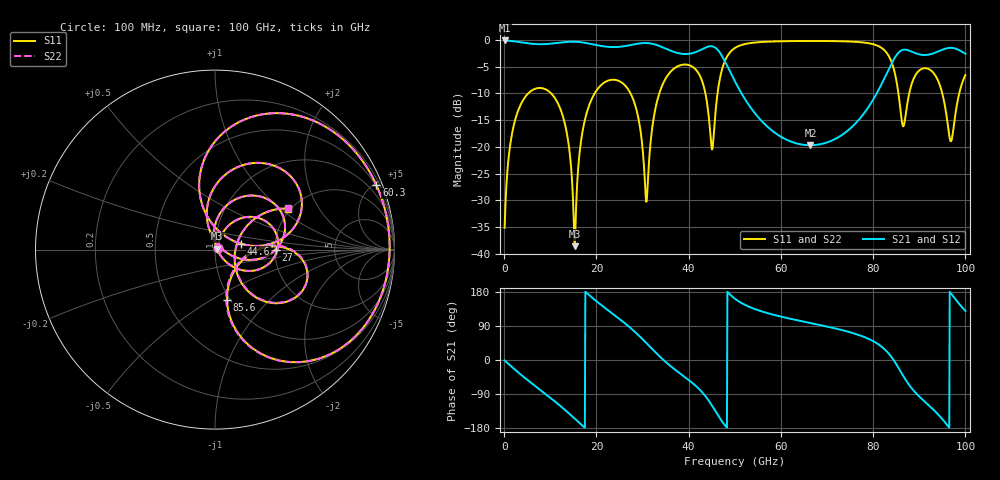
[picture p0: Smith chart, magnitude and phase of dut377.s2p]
! Touchstone file exported from HFSS 2026.1.0
!  File:  C:/ffzhzh/LocalFiles/Ansys_Project_Files/temp_train_TSV_RDL_377_1783714699_45164.aedt
!  Generated:  04:25:22 AM Jul 11, 2026
!  Design:  TSV_RDL
!  Project:  temp_train_TSV_RDL_377_1783714699_45164
! Variables:
!  h_bsmrdl = 4um
!  h_ox = 20um
!  h_rdl = 5um
!  h_sub = 93.74um
!  h_tmrdl = 3.87um
!  h_tsv = 93.74um
!  h_via = 3um
!  l_bsmrdl = 189.79um
!  l_sub = 2850.98um
!  l_tmrdl = 439.24um
!  m_sub = 200um
!  pitch = 43.49um
!  r_tsv = 14.47um
!  s_tmrdl = 10um
!  w_bsmrdl = 28.66um
!  w_sub = 500um
!  w_tmrdl = 12.89um
!  x_tsv_center1 = 445.685um
!  x_tsv_center2 = 664.135um
!  x_tsv_center3 = 1116.265um
!  x_tsv_center4 = 1334.715um
!  x_tsv_center5 = 1786.845um
!  x_tsv_center6 = 2005.295um
# GHz S MA R 50.000000
! Terminal data exported
! Port[1] = TM_RDL1_1_T1
! Port[2] = TM_RDL5_1_T1
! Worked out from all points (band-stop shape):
!   1000 points, 100 MHz to 100 GHz, reference 50 ohm
!   highest |S21| = -0.13 dB at 100 MHz (marker M1); lowest = -19.7 dB at 66.4 GHz (marker M2)
!   |S21| within 3 dB of the highest: start of sweep to 47.3 GHz; 84.86 GHz to end of sweep
!   lowest |S11| = -38.6 dB at 15.3 GHz (marker M3), VSWR 1.02, Z = 51.1 + j0.484 ohm
!   |S11| at or under -10 dB: start of sweep to 5.239 GHz; 10.16 GHz to 19.64 GHz (9.48 GHz wide, 63.6 % of centre); 27.38 GHz to 33.65 GHz (6.269 GHz wide, 20.5 % of centre) (the widest 3 of 6)
!   |S22| runs from -38.7 to -0.2 dB; largest |S21 - S12| = 3.6e-12
!   S11 on the Smith chart (normalised r, x): 100 MHz: 1.03, +0.02; 27 GHz: 2.02, +0.00; 44.6 GHz: 1.33, +0.09; 60.3 GHz: 0.45, +5.17; 85.6 GHz: 0.97, -0.59; 100 GHz: 1.94, +1.13
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0.1  0.01755 28.7  0.9847 -1.1  0.9847 -1.1  0.01755 28.7
! Gamma 0 0 0 0
! Port Impedance 50 0 50 0
2.5  0.1854 56.6  0.9619 -27.1  0.9619 -27.1  0.1854 56.6
7.7  0.3545 9.3  0.9087 -77.7  0.9087 -77.7  0.3546 9.3
12.8  0.1884 -37.4  0.9471 -127.6  0.9471 -127.6  0.1884 -37.4
15.3  0.01179 23.7  0.9578 -154.8  0.9578 -154.8  0.01165 23.5
16.8  0.1236 91.0  0.9464 -171.3  0.9464 -171.3  0.1235 91.1
27  0.3379 0.0  0.8849 88.7  0.8849 88.7  0.338 0.0
30.8  0.0306 34.8  0.9313 45.1  0.9313 45.1  0.03045 34.8
33.4  0.2913 96.1  0.8827 13.1  0.8827 13.1  0.2913 96.1
40.7  0.564 31.6  0.7473 -59.5  0.7473 -59.5  0.564 31.6
44.6  0.148 12.9  0.8693 -111.6  0.8693 -111.6  0.1479 12.9
46.8  0.4389 100.7  0.7546 -154.3  0.7546 -154.3  0.4387 100.7
50.1  0.8409 64.7  0.4039 161.1  0.4039 161.1  0.8407 64.7
60.3  0.9684 21.8  0.1221 113.7  0.1221 113.7  0.9684 21.8
66.4  0.9739 7.2  0.1035 97.6  0.1035 97.6  0.9738 7.2
66.7  0.9739 6.5  0.1035 96.8  0.1035 96.8  0.9738 6.5
77.9  0.9427 -24.4  0.2021 61.5  0.2021 61.5  0.9425 -24.5
83.4  0.7033 -60.8  0.5321 16.6  0.5321 16.6  0.7025 -61.0
85.6  0.2887 -76.5  0.7644 -22.9  0.7644 -22.9  0.2857 -77.3
92.1  0.5306 -28.3  0.7274 -120.0  0.7274 -120.0  0.5305 -27.9
96.8  0.1127 -11.2  0.8405 176.7  0.8405 176.7  0.1144 -10.9
100  0.4675 29.3  0.7397 129.7  0.7397 129.7  0.4678 29.3
